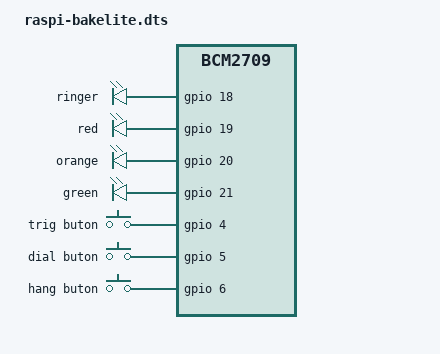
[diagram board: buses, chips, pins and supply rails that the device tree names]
/dts-v1/;
/plugin/;

/{
    compatible = "brcm,bcm2835", "brcm,bcm2708", "brcm,bcm2709";

    // Set up our ringer and 3 on board LEDs. These will be created in /sys/class/leds
    // Ringer (obviously) isn't an LED but there doesn't seem to be a more sensible control driver in Linux
    fragment@0 {
        target = <&leds>;
        __overlay__ {
            output_ringer: ringer {
                label = "ringer";
                gpios = <&gpio 18 0>; /* gpio 18 */
                linux,default-trigger = "none";
            };
            led_red: red {
                label = "red";
                gpios = <&gpio 19 0>; /* gpio 19 */
                linux,default-trigger = "none";
            };
            led_orange: orange {
                label = "orange";
                gpios = <&gpio 20 0>; /* gpio 20 */
                linux,default-trigger = "none";
            };
            led_green: green {
                label = "green";
                gpios = <&gpio 21 0>; /* gpio 21 */
                linux,default-trigger = "none";
            };
        };
    };

    // Set up our trig, dial and hang inputs
    fragment@1 {
        target = <&gpio>;
        __overlay__ {
            trig_pin: trig_pin {
                brcm,pins = <4>;     /* gpio4 */
                brcm,function = <0>; /* input */
                brcm,pull = <1>;     /* pull-down */
            };
            dial_pin: dial_pin {
                brcm,pins = <5>;     /* gpio5 */
                brcm,function = <0>; /* input */
                brcm,pull = <1>;     /* pull-down */
            };
            hang_pin: hang_pin {
                brcm,pins = <6>;     /* gpio6 */
                brcm,function = <0>; /* input */
                brcm,pull = <1>;     /* pull-down */
            };
        };
    };

    // Map the trig, dial and hang buttons to key codes (https://github.com/torvalds/linux/blob/v4.19/include/uapi/linux/input-event-codes.h#L341)
    // This also adds them as devices in /dev/input/by-path/
    fragment@2 {
        target-path = "/soc";
        __overlay__ {
            trig: trig {
                compatible = "gpio-keys";
                #address-cells = <1>;
                #size-cells = <0>;
                pinctrl-names = "default";
                pinctrl-0 = <&trig_pin>;
                status = "okay";

                trig@4 {
                    label = "trig buton";
                    linux,code = <0x104>;
                    gpios = <&gpio 4 0>;
                };
            };
            dial: dial {
                compatible = "gpio-keys";
                #address-cells = <1>;
                #size-cells = <0>;
                pinctrl-names = "default";
                pinctrl-0 = <&dial_pin>;
                status = "okay";

                dial@5 {
                    label = "dial buton";
                    linux,code = <0x105>;
                    gpios = <&gpio 5 0>;
                };
            };
            hang: hang {
                compatible = "gpio-keys";
                #address-cells = <1>;
                #size-cells = <0>;
                pinctrl-names = "default";
                pinctrl-0 = <&hang_pin>;
                status = "okay";

                hang@6 {
                    label = "hang buton";
                    linux,code = <0x106>;
                    gpios = <&gpio 6 0>;
                };
            };
        };
    };
};
